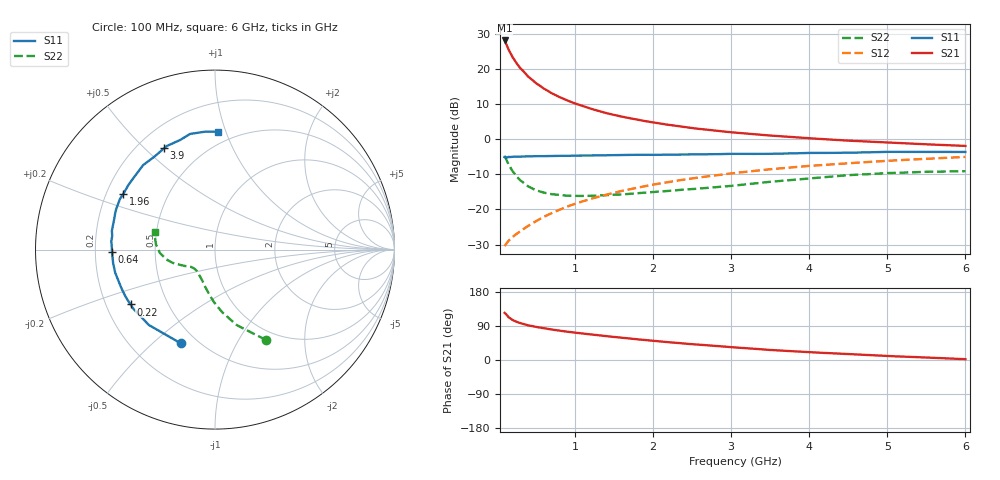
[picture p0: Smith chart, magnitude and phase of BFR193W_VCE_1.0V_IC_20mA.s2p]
! Infineon Technologies  Discrete & RF Semiconductors
! BFR193W
! VCE =  1.0 V,  IC =  20 mA
! Common Emitter S-Parameters:  Nov 2015
# GHz  S  MA  R  50
!  f  S11  S21  S12  S22
! GHz  MAG  ANG  MAG  ANG  MAG  ANG  MAG  ANG
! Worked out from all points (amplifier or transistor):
!   192 points, 100 MHz to 6 GHz, reference 50 ohm
!   highest |S21| = 28.1 dB at 100 MHz (marker M1)
!   |S21| within 3 dB of that: start of sweep to 160.7 MHz
!   unconditionally stable (mu >= 1): 668.6 MHz to 2.74 GHz
!   at 440 MHz: K = 0.90, MSG = 20.6 dB, |S12| = -24.1 dB
!   at 1.7 GHz: K = 1.04, MAG = 8.9 dB, |S12| = -14.3 dB
!   at 6 GHz: K = 0.95, MSG = 1.6 dB, |S12| = -5.1 dB
!   S11 on the Smith chart (normalised r, x): 100 MHz: 0.41, -0.62; 220 MHz: 0.30, -0.27; 640 MHz: 0.27, -0.01; 1.96 GHz: 0.27, +0.26; 3.9 GHz: 0.31, +0.58; 6 GHz: 0.41, +0.94
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0.1  0.5561 -109.9  25.27 124.3  0.0301 53.7  0.5778 -60.6
0.15  0.5588 -131.2  18.77 112.9  0.0358 51.3  0.4371 -74.0
0.2  0.5616 -143.7  14.76 105.7  0.0404 51.7  0.3532 -83.2
0.22  0.561 -147.0  13.67 104.0  0.0422 52.2  0.3298 -85.9
0.26  0.5632 -153.2  11.71 100.2  0.0456 53.4  0.289 -91.6
0.3  0.564 -158.2  10.23 97.1  0.049 55.0  0.2605 -95.9
0.4  0.5707 -166.9  7.767 91.5  0.0583 58.5  0.2137 -105.0
0.5  0.5726 -172.4  6.269 87.3  0.068 61.0  0.1877 -111.9
0.6  0.5733 -177.3  5.255 83.7  0.0784 62.6  0.1741 -118.0
0.64  0.5737 -178.8  4.955 82.5  0.0824 63.2  0.1704 -119.6
0.7  0.5751 178.9  4.509 80.4  0.0885 63.9  0.1652 -122.2
0.8  0.5795 175.3  3.972 77.4  0.0988 64.7  0.1612 -126.1
0.9  0.5778 172.4  3.542 74.7  0.1097 65.3  0.157 -129.1
1.1  0.5841 167.0  2.961 69.9  0.1306 65.3  0.1559 -134.4
1.4  0.5922 160.0  2.347 63.0  0.162 64.8  0.1595 -140.5
1.96  0.5981 148.7  1.756 51.5  0.2211 62.0  0.1759 -147.7
2.08  0.5991 146.4  1.673 49.2  0.2335 61.2  0.1797 -148.8
3.1  0.6172 128.9  1.225 32.5  0.3349 53.0  0.2224 -158.3
3.9  0.632 116.6  1.047 21.8  0.4074 45.7  0.2703 -167.5
4.1  0.6366 113.5  1.013 19.6  0.4236 44.0  0.2821 -170.3
5.1  0.6584 100.7  0.887 9.7  0.4989 35.1  0.3315 173.9
6  0.6572 88.6  0.801 2.2  0.5585 27.1  0.3505 163.7
